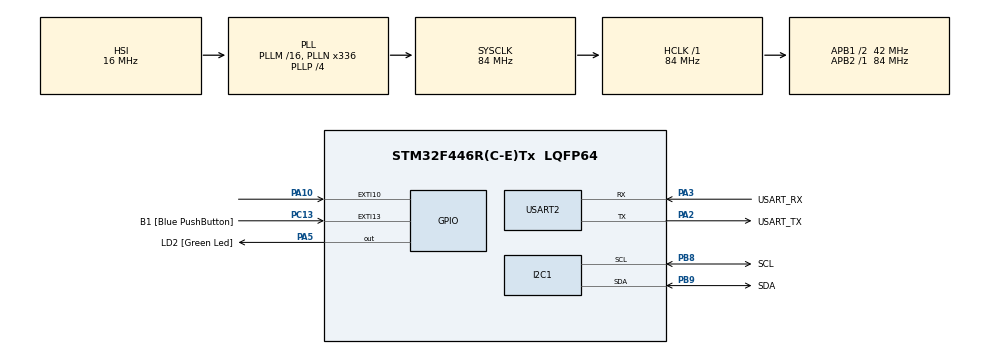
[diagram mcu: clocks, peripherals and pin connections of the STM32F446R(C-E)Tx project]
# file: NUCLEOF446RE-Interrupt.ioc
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I2C1.I2C_Mode=I2C_Standard
Mcu.Family=STM32F4
Mcu.Name=STM32F446R(C-E)Tx
Mcu.Package=LQFP64
NVIC.EXTI15_10_IRQn=true\:0\:0\:false\:false\:true\:true\:true\:true
NVIC.I2C1_EV_IRQn=true\:0\:0\:false\:false\:true\:true\:true\:true
NVIC.PriorityGroup=NVIC_PRIORITYGROUP_0
PA10.GPIO_ModeDefaultEXTI=GPIO_MODE_IT_FALLING
PA10.GPIO_PuPd=GPIO_PULLUP
PA10.Signal=GPXTI10
PA13.GPIO_Label=TMS
PA13.Mode=Serial_Wire
PA13.Signal=SYS_JTMS-SWDIO
PA14.GPIO_Label=TCK
PA14.Mode=Serial_Wire
PA14.Signal=SYS_JTCK-SWCLK
PA2.GPIO_Label=USART_TX
PA2.Mode=Asynchronous
PA2.Signal=USART2_TX
PA3.GPIO_Label=USART_RX
PA3.Mode=Asynchronous
PA3.Signal=USART2_RX
PA5.GPIO_Label=LD2 [Green Led]
PA5.Signal=GPIO_Output
PB3.GPIO_Label=SWO
PB3.Signal=SYS_JTDO-SWO
PB8.GPIO_Label=SCL
PB8.GPIO_Pu=GPIO_NOPULL
PB8.Mode=I2C
PB8.Signal=I2C1_SCL
PB9.GPIO_Label=SDA
PB9.GPIO_Pu=GPIO_NOPULL
PB9.Mode=I2C
PB9.Signal=I2C1_SDA
PC13.GPIO_Label=B1 [Blue PushButton]
PC13.GPIO_ModeDefaultEXTI=GPIO_MODE_IT_FALLING
PC13.Signal=GPXTI13
PC14-OSC32_IN.Mode=LSE-External-Oscillator
PC14-OSC32_IN.Signal=RCC_OSC32_IN
PC15-OSC32_OUT.Mode=LSE-External-Oscillator
PC15-OSC32_OUT.Signal=RCC_OSC32_OUT
PH0-OSC_IN.Mode=HSE-External-Oscillator
PH0-OSC_IN.Signal=RCC_OSC_IN
PH1-OSC_OUT.Mode=HSE-External-Oscillator
PH1-OSC_OUT.Signal=RCC_OSC_OUT
ProjectManager.HeapSize=0x200
ProjectManager.StackSize=0x400
ProjectManager.TargetToolchain=STM32CubeIDE
RCC.48MHZClocksFreq_Value=84000000
RCC.AHBFreq_Value=84000000
RCC.APB1CLKDivider=RCC_HCLK_DIV2
RCC.APB1Freq_Value=42000000
RCC.APB1TimFreq_Value=84000000
RCC.APB2Freq_Value=84000000
RCC.APB2TimFreq_Value=84000000
RCC.CortexFreq_Value=84000000
RCC.FLatency-AdvancedSettings=FLASH_LATENCY_2
RCC.HCLKFreq_Value=84000000
RCC.HSE_VALUE=8000000
RCC.HSI_VALUE=16000000
RCC.PLLN=336
RCC.PLLP=RCC_PLLP_DIV4
RCC.SYSCLKFreq_VALUE=84000000
RCC.SYSCLKSource=RCC_SYSCLKSOURCE_PLLCLK
RCC.USBFreq_Value=168000000
RCC.VCOOutputFreq_Value=336000000
USART2.VirtualMode=VM_ASYNC
board=NUCLEO-F446RE

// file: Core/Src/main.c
/* USER CODE BEGIN Header */
/**
  ******************************************************************************
  * @file           : main.c
  * @brief          : Main program body
  ******************************************************************************
  * @attention
  *
  * Copyright (c) 2023 STMicroelectronics.
  * All rights reserved.
  *
  * This software is licensed under terms that can be found in the LICENSE file
  * in the root directory of this software component.
  * If no LICENSE file comes with this software, it is provided AS-IS.
  *
  ******************************************************************************
  */
/* USER CODE END Header */
#include "main.h"

I2C_HandleTypeDef hi2c1;

UART_HandleTypeDef huart2;

void SystemClock_Config(void);
static void MX_GPIO_Init(void);
static void MX_USART2_UART_Init(void);
static void MX_I2C1_Init(void);

/* USER CODE BEGIN 0 */

typedef enum MCP23017_RegistersBank0 {
  MCP23017_IODIRA = 0x00,
  MCP23017_IODIRB = 0x01,
  MCP23017_IPOLA = 0x02,
  MCP23017_IPOLB = 0x03,
  MCP23017_GPINTENA = 0x04,
  MCP23017_GPINTENB = 0x05,
  MCP23017_DEFVALA = 0x06,
  MCP23017_DEFVALB = 0x07,
  MCP23017_INTCONA = 0x08,
  MCP23017_INTCONB = 0x09,
  MCP23017_IOCON_AB = 0x0A,
  MCP23017_IOCON_BA = 0x0B,
  MCP23017_GPPUA = 0x0C,
  MCP23017_GPPUB = 0x0D,
  MCP23017_INTFA = 0x0E,
  MCP23017_INTFB = 0x0F,
  MCP23017_INTCAPA = 0x10,
  MCP23017_INTCAPB = 0x11,
  MCP23017_GPIOA = 0x12,
  MCP23017_GPIOB = 0x13,
  MCP23017_OLATA = 0x14,
  MCP23017_OLATB = 0x15
} MCP23017_RegistersBank0;

typedef enum MCP23017_IOCONSetup {
  MCP23017_CON_BANK =    0b10000000,
  MCP23017_CON_MIRROR =  0b01000000,
  MCP23017_CON_SEQOP =   0b00100000,
  MCP23017_CON_DISSLW =  0b00010000,
  MCP23017_CON_HAEN =    0b00001000,
  MCP23017_CON_ODR =     0b00000100,
  MCP23017_CON_INTPOL =  0b00000010,
} MCP23017_IOCONSetup;

uint8_t MCP23017_AddrConv(uint8_t addr){
  if (addr > 7){
    addr = 7;
  }
  uint8_t fixedPart = 0b0100;
  uint8_t filteredAddr = 0b0000111 & addr;
  uint8_t slaveAddr = fixedPart << 3 | filteredAddr;
  return slaveAddr;
}

uint8_t MCP23017_I2CRead(uint16_t addr, uint16_t reg){
	HAL_StatusTypeDef status;
	uint8_t data;
	status = HAL_I2C_Mem_Read(&hi2c1, addr << 1 | 0b00000001, reg, 1, &data, 1, 10);
 // Wire.beginTransmission(addr);
 // Wire.write(reg);
 // Wire.requestFrom(0x20, 1, true);
 // uint8_t data = Wire.read();
 // Wire.endTransmission();
 // sleep(5);
  //return data;
	//HAL_Delay(5);
	return data;
}

void MCP23017_I2CWrite(uint16_t addr, uint16_t reg, uint8_t data){
	HAL_StatusTypeDef status;
	status = HAL_I2C_Mem_Write(&hi2c1, addr << 1, reg, 1, &data, 1, 10);
	//HAL_I2C_Master_Transmit (&hi2c1, addr, &data, 1, 1000);
 // Wire.beginTransmission(addr);
 // Wire.write(reg);
 // Wire.write(data);
 // Wire.endTransmission();
 // sleep(50);
	HAL_Delay(50);
}

uint16_t MCP23017_readNotes(uint8_t addr){
  uint8_t AData = MCP23017_I2CRead(addr, MCP23017_GPIOA);
  uint8_t BData = MCP23017_I2CRead(addr, MCP23017_GPIOB);
  return BData << 8 | AData;
}

void MCP23017_init(uint8_t addr){
  MCP23017_I2CWrite(addr, MCP23017_IOCON_AB, MCP23017_CON_MIRROR | MCP23017_CON_ODR);
  //uint8_t config = MCP23017_I2CRead(_devAddr, MCP23017_IOCON_AB);

  MCP23017_I2CWrite(addr, MCP23017_IODIRA, 0b11111111); //I/O DIRECTION REGISTER (ADDR 0x00)
  MCP23017_I2CWrite(addr, MCP23017_IODIRB, 0b11111111); //I/O DIRECTION REGISTER (ADDR 0x00)
  MCP23017_I2CWrite(addr, MCP23017_GPPUA, 0b11111111); //GPIO PULL-UP RESISTOR REGISTER (ADDR 0x06)
  MCP23017_I2CWrite(addr, MCP23017_GPPUB, 0b11111111); //GPIO PULL-UP RESISTOR REGISTER (ADDR 0x06)
  MCP23017_I2CWrite(addr, MCP23017_GPINTENA, 0b11111111); //INTERRUPT-ON-CHANGE PINS (ADDR 0x02)
  MCP23017_I2CWrite(addr, MCP23017_GPINTENB, 0b11111111); //INTERRUPT-ON-CHANGE PINS (ADDR 0x02)
  MCP23017_I2CWrite(addr, MCP23017_INTCONA, 0b00000000); //INTERRUPT-ON-CHANGE CONTROL REGISTER (ADDR 0x04)
  MCP23017_I2CWrite(addr, MCP23017_INTCONB, 0b00000000); //INTERRUPT-ON-CHANGE CONTROL REGISTER (ADDR 0x04)
  MCP23017_I2CWrite(addr, MCP23017_DEFVALA, 0b11111111); //DEFAULT VALUE REGISTER (ADDR 0x03)
  MCP23017_I2CWrite(addr, MCP23017_DEFVALB, 0b11111111); //DEFAULT VALUE REGISTER (ADDR 0x03)

  //Serial.println("MCP23017 Initiated");
}

uint8_t octaveIntTriggered = 0;

/* USER CODE END 0 */

int main(void)
{

  /* MCU Configuration--------------------------------------------------------*/

  /* Reset of all peripherals, Initializes the Flash interface and the Systick. */
  HAL_Init();

  /* Configure the system clock */
  SystemClock_Config();

  /* Initialize all configured peripherals */
  MX_GPIO_Init();
  MX_USART2_UART_Init();
  MX_I2C1_Init();

  /* Infinite loop */
  /* USER CODE BEGIN WHILE */

  uint8_t devAddr = MCP23017_AddrConv(0);
  MCP23017_init(devAddr);

  while (1)
  {

	if (octaveIntTriggered == 1){
		octaveIntTriggered = 0;
		uint16_t notes = MCP23017_readNotes(devAddr);
		if (notes == 0xFFFF){
			HAL_GPIO_WritePin(GPIOA, GPIO_PIN_5, GPIO_PIN_RESET);
		}else{
			HAL_GPIO_WritePin(GPIOA, GPIO_PIN_5, GPIO_PIN_SET);
		}
	}
    /* USER CODE END WHILE */

  }
}

void SystemClock_Config(void)
{
  RCC_OscInitTypeDef RCC_OscInitStruct = {0};
  RCC_ClkInitTypeDef RCC_ClkInitStruct = {0};

  /** Configure the main internal regulator output voltage
  */
  __HAL_RCC_PWR_CLK_ENABLE();
  __HAL_PWR_VOLTAGESCALING_CONFIG(PWR_REGULATOR_VOLTAGE_SCALE3);

  /** Initializes the RCC Oscillators according to the specified parameters
  * in the RCC_OscInitTypeDef structure.
  */
  RCC_OscInitStruct.OscillatorType = RCC_OSCILLATORTYPE_HSI;
  RCC_OscInitStruct.HSIState = RCC_HSI_ON;
  RCC_OscInitStruct.HSICalibrationValue = RCC_HSICALIBRATION_DEFAULT;
  RCC_OscInitStruct.PLL.PLLState = RCC_PLL_ON;
  RCC_OscInitStruct.PLL.PLLSource = RCC_PLLSOURCE_HSI;
  RCC_OscInitStruct.PLL.PLLM = 16;
  RCC_OscInitStruct.PLL.PLLN = 336;
  RCC_OscInitStruct.PLL.PLLP = RCC_PLLP_DIV4;
  RCC_OscInitStruct.PLL.PLLQ = 2;
  RCC_OscInitStruct.PLL.PLLR = 2;
  if (HAL_RCC_OscConfig(&RCC_OscInitStruct) != HAL_OK)
  {
    Error_Handler();
  }

  /** Initializes the CPU, AHB and APB buses clocks
  */
  RCC_ClkInitStruct.ClockType = RCC_CLOCKTYPE_HCLK|RCC_CLOCKTYPE_SYSCLK
                              |RCC_CLOCKTYPE_PCLK1|RCC_CLOCKTYPE_PCLK2;
  RCC_ClkInitStruct.SYSCLKSource = RCC_SYSCLKSOURCE_PLLCLK;
  RCC_ClkInitStruct.AHBCLKDivider = RCC_SYSCLK_DIV1;
  RCC_ClkInitStruct.APB1CLKDivider = RCC_HCLK_DIV2;
  RCC_ClkInitStruct.APB2CLKDivider = RCC_HCLK_DIV1;

  if (HAL_RCC_ClockConfig(&RCC_ClkInitStruct, FLASH_LATENCY_2) != HAL_OK)
  {
    Error_Handler();
  }
}

static void MX_I2C1_Init(void)
{

  hi2c1.Instance = I2C1;
  hi2c1.Init.ClockSpeed = 100000;
  hi2c1.Init.DutyCycle = I2C_DUTYCYCLE_2;
  hi2c1.Init.OwnAddress1 = 0;
  hi2c1.Init.AddressingMode = I2C_ADDRESSINGMODE_7BIT;
  hi2c1.Init.DualAddressMode = I2C_DUALADDRESS_DISABLE;
  hi2c1.Init.OwnAddress2 = 0;
  hi2c1.Init.GeneralCallMode = I2C_GENERALCALL_DISABLE;
  hi2c1.Init.NoStretchMode = I2C_NOSTRETCH_DISABLE;
  if (HAL_I2C_Init(&hi2c1) != HAL_OK)
  {
    Error_Handler();
  }

}

static void MX_USART2_UART_Init(void)
{

  huart2.Instance = USART2;
  huart2.Init.BaudRate = 115200;
  huart2.Init.WordLength = UART_WORDLENGTH_8B;
  huart2.Init.StopBits = UART_STOPBITS_1;
  huart2.Init.Parity = UART_PARITY_NONE;
  huart2.Init.Mode = UART_MODE_TX_RX;
  huart2.Init.HwFlowCtl = UART_HWCONTROL_NONE;
  huart2.Init.OverSampling = UART_OVERSAMPLING_16;
  if (HAL_UART_Init(&huart2) != HAL_OK)
  {
    Error_Handler();
  }

}

static void MX_GPIO_Init(void)
{
  GPIO_InitTypeDef GPIO_InitStruct = {0};

  /* GPIO Ports Clock Enable */
  __HAL_RCC_GPIOC_CLK_ENABLE();
  __HAL_RCC_GPIOH_CLK_ENABLE();
  __HAL_RCC_GPIOA_CLK_ENABLE();
  __HAL_RCC_GPIOB_CLK_ENABLE();

  /*Configure GPIO pin Output Level */
  HAL_GPIO_WritePin(LD2_GPIO_Port, LD2_Pin, GPIO_PIN_RESET);

  /*Configure GPIO pin : B1_Pin */
  GPIO_InitStruct.Pin = B1_Pin;
  GPIO_InitStruct.Mode = GPIO_MODE_IT_FALLING;
  GPIO_InitStruct.Pull = GPIO_NOPULL;
  HAL_GPIO_Init(B1_GPIO_Port, &GPIO_InitStruct);

  /*Configure GPIO pin : LD2_Pin */
  GPIO_InitStruct.Pin = LD2_Pin;
  GPIO_InitStruct.Mode = GPIO_MODE_OUTPUT_PP;
  GPIO_InitStruct.Pull = GPIO_NOPULL;
  GPIO_InitStruct.Speed = GPIO_SPEED_FREQ_LOW;
  HAL_GPIO_Init(LD2_GPIO_Port, &GPIO_InitStruct);

  /*Configure GPIO pin : PA10 */
  GPIO_InitStruct.Pin = GPIO_PIN_10;
  GPIO_InitStruct.Mode = GPIO_MODE_IT_FALLING;
  GPIO_InitStruct.Pull = GPIO_PULLUP;
  HAL_GPIO_Init(GPIOA, &GPIO_InitStruct);

  /* EXTI interrupt init*/
  HAL_NVIC_SetPriority(EXTI15_10_IRQn, 0, 0);
  HAL_NVIC_EnableIRQ(EXTI15_10_IRQn);

}

/* USER CODE BEGIN 4 */

void HAL_GPIO_EXTI_Callback(uint16_t GPIO_Pin)
{

  if(GPIO_Pin == GPIO_PIN_13) {
    HAL_GPIO_TogglePin(GPIOA, GPIO_PIN_5);
  } else if (GPIO_Pin == GPIO_PIN_10) {
	octaveIntTriggered = 1;
	//Then, must read MCP23017 values, otherwise, no more interrupt triggered.
  } else {
    __NOP();
  }
}

/* USER CODE END 4 */

void Error_Handler(void)
{
  __disable_irq();
  while (1)
  {
  }
}
